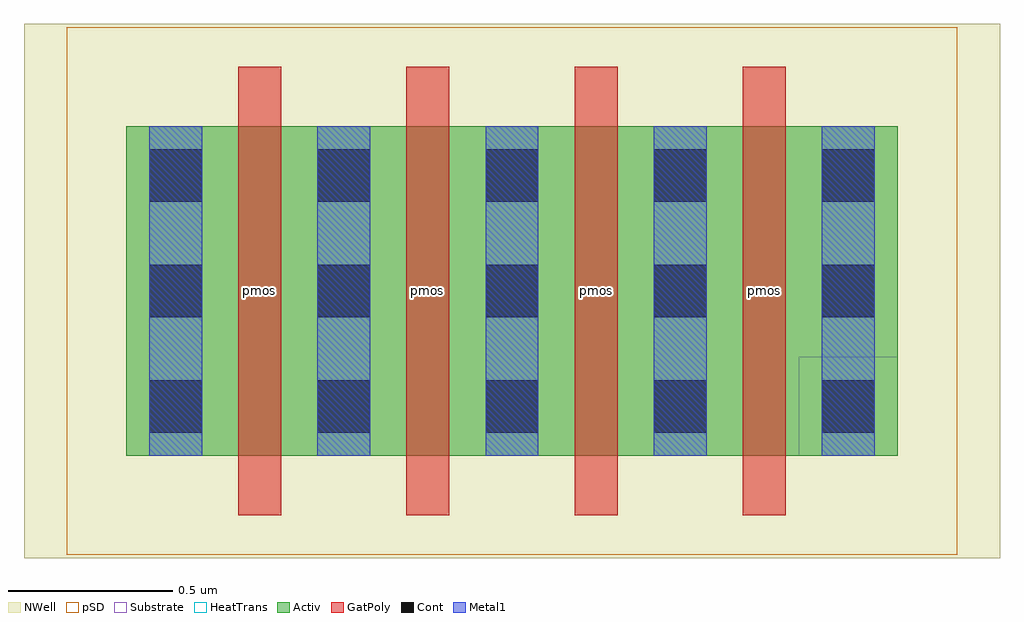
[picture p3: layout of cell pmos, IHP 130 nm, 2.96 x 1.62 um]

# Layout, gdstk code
import gdstk
lib = gdstk.Library(unit=1e-6, precision=1e-09)
def R(c, l, rs):  # rectangles x0, y0, x1, y1
    for r in rs: c.add(gdstk.rectangle(r[:2], r[2:], *l))
def A(c, l, x, y, w, h, nx, ny, dx, dy):  # array of equal rectangles
    R(c, l, [(x+i*dx, y+j*dy, x+i*dx+w, y+j*dy+h) for i in range(nx) for j in range(ny)])
Activ = (1, 0)
GatPoly = (5, 0)
Cont = (6, 0)
Metal1 = (8, 0)
pSD = (14, 0)
NWell = (31, 0)
Substrate = (40, 0)
HeatTrans = (51, 0)

pmos = lib.new_cell('pmos')
A(pmos, Activ, 0, 0, 0.3, 0.3, 5, 1, 0.51, 0)
R(pmos, Activ, [(0,0,2.34,1)])
A(pmos, GatPoly, 0.34, -0.18, 0.13, 1.36, 4, 1, 0.51, 0)
R(pmos, GatPoly, [(0.34,-0.18,0.47,1.18)])
A(pmos, Cont, 0.07, 0.07, 0.16, 0.16, 5, 3, 0.51, 0.35)
A(pmos, Metal1, 0.58, 0, 0.16, 1, 4, 1, 0.51, 0)
R(pmos, Metal1, [(0.07,0,0.23,1), (0.07,0,0.23,1), (0.58,0,0.74,1)])
R(pmos, pSD, [(-0.18,-0.3,2.52,1.3)])
R(pmos, NWell, [(-0.31,-0.31,2.65,1.31)])
R(pmos, Substrate, [(2.04,0,2.34,0.3)])
A(pmos, HeatTrans, 0.34, -0.18, 0.13, 1.36, 4, 1, 0.51, 0)
pmos.add(gdstk.Label('pmos', (0.405,0.5), layer=63, texttype=0))
pmos.add(gdstk.Label('pmos', (0.405,0.5), layer=51, texttype=0))
pmos.add(gdstk.Label('pmos', (0.915,0.5), layer=51, texttype=0))
pmos.add(gdstk.Label('pmos', (1.425,0.5), layer=51, texttype=0))
pmos.add(gdstk.Label('pmos', (1.935,0.5), layer=51, texttype=0))

lib.write_gds('pmos.gds')
